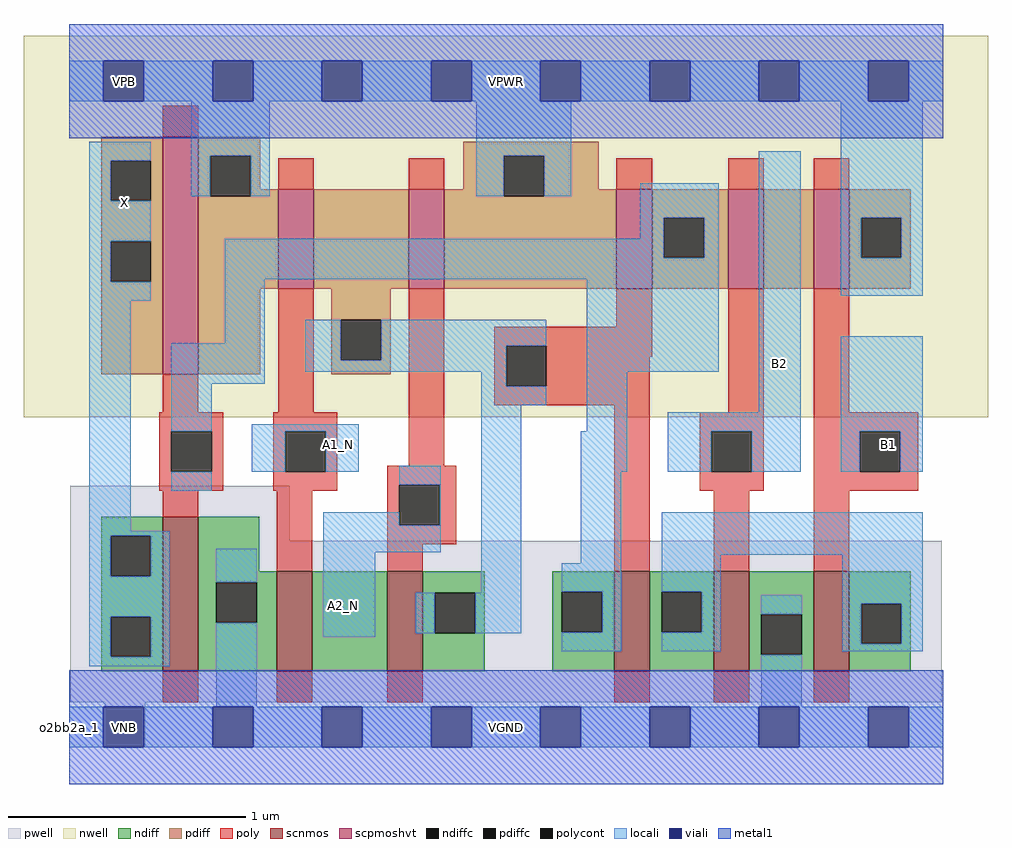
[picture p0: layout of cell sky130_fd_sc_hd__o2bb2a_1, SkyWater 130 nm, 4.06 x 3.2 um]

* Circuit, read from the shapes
.subckt sky130_fd_sc_hd__o2bb2a_1 A1_N A2_N B1 B2 VGND VNB VPB VPWR X
XM1 VGND n1 X VNB sky130_fd_pr__nfet_01v8 w=0.65 l=0.15
XM2 n2 A1_N VGND VNB sky130_fd_pr__nfet_01v8 w=0.42 l=0.15
XM3 n3 A2_N n2 VNB sky130_fd_pr__nfet_01v8 w=0.42 l=0.15
XM4 n4 n3 n1 VNB sky130_fd_pr__nfet_01v8 w=0.42 l=0.15
XM5 VGND B2 n4 VNB sky130_fd_pr__nfet_01v8 w=0.42 l=0.15
XM6 n4 B1 VGND VNB sky130_fd_pr__nfet_01v8 w=0.42 l=0.15
XM7 VPWR n1 X VPB sky130_fd_pr__pfet_01v8_hvt w=1 l=0.15
XM8 n3 A1_N VPWR VPB sky130_fd_pr__pfet_01v8_hvt w=0.42 l=0.15
XM9 VPWR A2_N n3 VPB sky130_fd_pr__pfet_01v8_hvt w=0.42 l=0.15
XM10 n1 n3 VPWR VPB sky130_fd_pr__pfet_01v8_hvt w=0.42 l=0.15
XM11 n5 B2 n1 VPB sky130_fd_pr__pfet_01v8_hvt w=0.42 l=0.15
XM12 VPWR B1 n5 VPB sky130_fd_pr__pfet_01v8_hvt w=0.42 l=0.15
.ends

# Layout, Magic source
magic
tech sky130B
magscale 1 2
<< nwell >>
rect -38 261 774 582
<< pwell >>
rect 1 157 186 203
rect 1 21 735 157
rect 30 -17 64 21
<< scnmos >>
rect 79 47 109 177
rect 175 47 205 131
rect 268 47 298 131
rect 459 47 489 131
rect 543 47 573 131
rect 627 47 657 131
<< scpmoshvt >>
rect 79 297 109 497
rect 176 369 206 453
rect 286 369 316 453
rect 461 369 491 453
rect 555 369 585 453
rect 627 369 657 453
<< ndiff >>
rect 27 161 79 177
rect 27 127 35 161
rect 69 127 79 161
rect 27 93 79 127
rect 27 59 35 93
rect 69 59 79 93
rect 27 47 79 59
rect 109 131 160 177
rect 109 122 175 131
rect 109 88 124 122
rect 158 88 175 122
rect 109 47 175 88
rect 205 47 268 131
rect 298 113 350 131
rect 298 79 308 113
rect 342 79 350 113
rect 298 47 350 79
rect 407 114 459 131
rect 407 80 415 114
rect 449 80 459 114
rect 407 47 459 80
rect 489 114 543 131
rect 489 80 499 114
rect 533 80 543 114
rect 489 47 543 80
rect 573 95 627 131
rect 573 61 583 95
rect 617 61 627 95
rect 573 47 627 61
rect 657 104 709 131
rect 657 70 667 104
rect 701 70 709 104
rect 657 47 709 70
<< pdiff >>
rect 27 477 79 497
rect 27 443 35 477
rect 69 443 79 477
rect 27 409 79 443
rect 27 375 35 409
rect 69 375 79 409
rect 27 297 79 375
rect 109 481 161 497
rect 109 447 119 481
rect 153 453 161 481
rect 332 481 446 493
rect 332 453 366 481
rect 153 447 176 453
rect 109 369 176 447
rect 206 369 286 453
rect 316 447 366 453
rect 400 453 446 481
rect 400 447 461 453
rect 316 369 461 447
rect 491 429 555 453
rect 491 395 501 429
rect 535 395 555 429
rect 491 369 555 395
rect 585 369 627 453
rect 657 429 709 453
rect 657 395 667 429
rect 701 395 709 429
rect 657 369 709 395
rect 109 297 161 369
rect 221 343 271 369
rect 221 309 229 343
rect 263 309 271 343
rect 221 297 271 309
<< ndiffc >>
rect 35 127 69 161
rect 35 59 69 93
rect 124 88 158 122
rect 308 79 342 113
rect 415 80 449 114
rect 499 80 533 114
rect 583 61 617 95
rect 667 70 701 104
<< pdiffc >>
rect 35 443 69 477
rect 35 375 69 409
rect 119 447 153 481
rect 366 447 400 481
rect 501 395 535 429
rect 667 395 701 429
rect 229 309 263 343
<< poly >>
rect 79 497 109 523
rect 176 453 206 479
rect 286 453 316 479
rect 461 453 491 479
rect 555 453 585 479
rect 627 453 657 479
rect 79 265 109 297
rect 176 265 206 369
rect 76 249 130 265
rect 76 215 86 249
rect 120 215 130 249
rect 76 199 130 215
rect 172 249 226 265
rect 172 215 182 249
rect 216 215 226 249
rect 286 220 316 369
rect 461 337 491 369
rect 358 321 491 337
rect 358 287 368 321
rect 402 312 491 321
rect 402 287 489 312
rect 358 271 489 287
rect 172 199 226 215
rect 268 204 326 220
rect 79 177 109 199
rect 175 131 205 199
rect 268 170 278 204
rect 312 170 326 204
rect 268 154 326 170
rect 268 131 298 154
rect 459 131 489 271
rect 555 265 585 369
rect 531 249 585 265
rect 531 215 541 249
rect 575 215 585 249
rect 531 199 585 215
rect 627 265 657 369
rect 627 249 715 265
rect 627 215 666 249
rect 700 215 715 249
rect 627 199 715 215
rect 543 131 573 199
rect 627 131 657 199
rect 79 21 109 47
rect 175 21 205 47
rect 268 21 298 47
rect 459 21 489 47
rect 543 21 573 47
rect 627 21 657 47
<< polycont >>
rect 86 215 120 249
rect 182 215 216 249
rect 368 287 402 321
rect 278 170 312 204
rect 541 215 575 249
rect 666 215 700 249
<< locali >>
rect 0 527 29 561
rect 63 527 121 561
rect 155 527 213 561
rect 247 527 305 561
rect 339 527 397 561
rect 431 527 489 561
rect 523 527 581 561
rect 615 527 673 561
rect 707 527 736 561
rect 17 477 69 493
rect 17 443 35 477
rect 103 481 169 527
rect 103 447 119 481
rect 153 447 169 481
rect 343 481 423 527
rect 343 447 366 481
rect 400 447 423 481
rect 17 409 69 443
rect 481 429 547 458
rect 481 411 501 429
rect 17 375 35 409
rect 17 359 69 375
rect 131 395 501 411
rect 535 395 547 429
rect 131 377 547 395
rect 17 165 52 359
rect 131 323 165 377
rect 86 289 165 323
rect 199 309 229 343
rect 263 321 402 343
rect 263 309 368 321
rect 199 299 368 309
rect 86 249 120 289
rect 347 287 368 299
rect 347 271 402 287
rect 436 299 547 377
rect 154 249 244 255
rect 154 215 182 249
rect 216 215 244 249
rect 86 199 120 215
rect 278 204 313 220
rect 214 170 278 181
rect 312 170 313 204
rect 17 161 85 165
rect 17 127 35 161
rect 69 127 85 161
rect 17 93 85 127
rect 17 59 35 93
rect 69 59 85 93
rect 17 51 85 59
rect 124 122 158 150
rect 124 17 158 88
rect 214 147 313 170
rect 214 76 258 147
rect 347 113 381 271
rect 436 249 470 299
rect 581 265 616 485
rect 650 429 719 527
rect 650 395 667 429
rect 701 395 719 429
rect 650 363 719 395
rect 431 215 470 249
rect 504 249 616 265
rect 504 215 541 249
rect 575 215 616 249
rect 650 249 719 329
rect 650 215 666 249
rect 700 215 719 249
rect 431 138 465 215
rect 292 79 308 113
rect 342 79 381 113
rect 415 114 465 138
rect 449 80 465 114
rect 415 64 465 80
rect 499 145 719 181
rect 499 114 549 145
rect 533 80 549 114
rect 499 64 549 80
rect 583 95 617 111
rect 651 104 719 145
rect 651 70 667 104
rect 701 70 719 104
rect 651 64 719 70
rect 583 17 617 61
rect 0 -17 29 17
rect 63 -17 121 17
rect 155 -17 213 17
rect 247 -17 305 17
rect 339 -17 397 17
rect 431 -17 489 17
rect 523 -17 581 17
rect 615 -17 673 17
rect 707 -17 736 17
<< viali >>
rect 29 527 63 561
rect 121 527 155 561
rect 213 527 247 561
rect 305 527 339 561
rect 397 527 431 561
rect 489 527 523 561
rect 581 527 615 561
rect 673 527 707 561
rect 29 -17 63 17
rect 121 -17 155 17
rect 213 -17 247 17
rect 305 -17 339 17
rect 397 -17 431 17
rect 489 -17 523 17
rect 581 -17 615 17
rect 673 -17 707 17
<< metal1 >>
rect 0 561 736 592
rect 0 527 29 561
rect 63 527 121 561
rect 155 527 213 561
rect 247 527 305 561
rect 339 527 397 561
rect 431 527 489 561
rect 523 527 581 561
rect 615 527 673 561
rect 707 527 736 561
rect 0 496 736 527
rect 0 17 736 48
rect 0 -17 29 17
rect 63 -17 121 17
rect 155 -17 213 17
rect 247 -17 305 17
rect 339 -17 397 17
rect 431 -17 489 17
rect 523 -17 581 17
rect 615 -17 673 17
rect 707 -17 736 17
rect 0 -48 736 -17
<< labels >>
flabel locali s 210 221 244 255 0 FreeSans 400 0 0 0 A1_N
port 1 nsew signal input
flabel locali s 30 425 64 459 0 FreeSans 400 0 0 0 X
port 9 nsew signal output
flabel locali s 214 85 248 119 0 FreeSans 400 0 0 0 A2_N
port 2 nsew signal input
flabel locali s 581 289 615 323 0 FreeSans 400 0 0 0 B2
port 4 nsew signal input
flabel locali s 673 221 707 255 0 FreeSans 400 0 0 0 B1
port 3 nsew signal input
flabel pwell s 30 -17 64 17 0 FreeSans 200 0 0 0 VNB
port 6 nsew ground bidirectional
flabel nwell s 30 527 64 561 0 FreeSans 200 0 0 0 VPB
port 7 nsew power bidirectional
flabel metal1 s 30 527 64 561 0 FreeSans 200 0 0 0 VPWR
port 8 nsew power bidirectional abutment
flabel metal1 s 30 -17 64 17 0 FreeSans 200 0 0 0 VGND
port 5 nsew ground bidirectional abutment
rlabel comment s 0 0 0 0 4 o2bb2a_1
rlabel metal1 s 0 -48 736 48 1 VGND
port 5 nsew ground bidirectional abutment
rlabel metal1 s 0 496 736 592 1 VPWR
port 8 nsew power bidirectional abutment
<< properties >>
string FIXED_BBOX 0 0 736 544
string GDS_END 1212142
string GDS_FILE $PDKPATH/libs.ref/sky130_fd_sc_hd/gds/sky130_fd_sc_hd.gds
string GDS_START 1205750
string LEFclass CORE
string LEFsite unithd
string LEFsymmetry X Y R90
string path 0.000 0.000 3.680 0.000 
<< end >>
